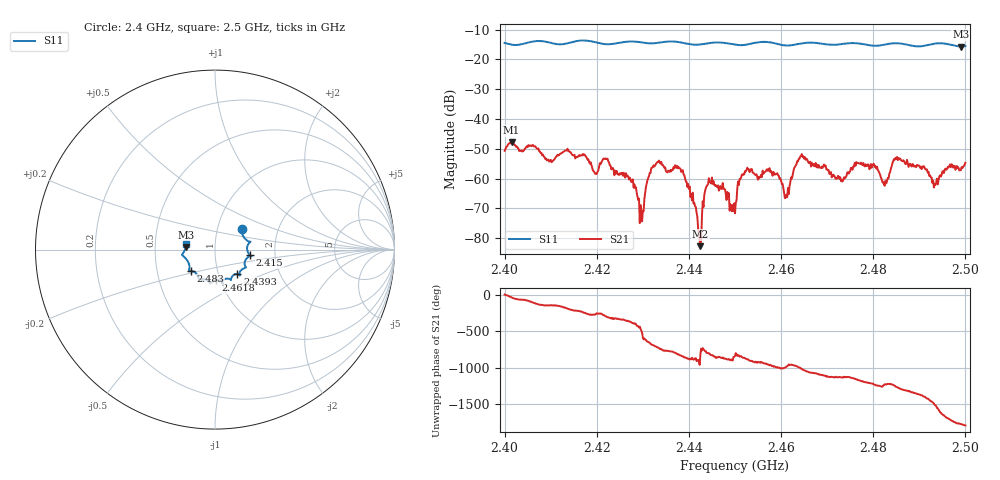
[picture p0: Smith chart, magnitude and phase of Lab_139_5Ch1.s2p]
# Hz S RI R 50
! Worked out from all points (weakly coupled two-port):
!   601 points, 2.4 GHz to 2.5 GHz, reference 50 ohm
!   highest |S21| = -47.78 dB at 2.4015 GHz (marker M1); lowest = -82.7 dB at 2.4425 GHz (marker M2)
!   lowest |S11| = -15.7 dB at 2.499 GHz (marker M3), VSWR 1.39, Z = 35.9 + j1.12 ohm
!   |S11| at or under -10 dB: start of sweep to end of sweep
!   S12 and S22 are empty: the file has one direction only
!   S11 on the Smith chart (normalised r, x): 2.4 GHz: 1.31, +0.31; 2.415 GHz: 1.48, -0.10; 2.4393 GHz: 1.23, -0.35; 2.4618 GHz: 0.95, -0.33; 2.483 GHz: 0.74, -0.18; 2.5 GHz: 0.72, +0.05
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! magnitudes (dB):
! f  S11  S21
! 2.4 GHz  -14.5  -50.7
! 2.4015 GHz  -15.1  -47.8
! 2.415 GHz  -14.1  -52.2
! 2.4167 GHz  -13.7  -52.2
! 2.4268 GHz  -14.0  -59.4
! 2.4297 GHz  -14.3  -71.0
! 2.4315 GHz  -14.6  -58.1
! 2.4333 GHz  -14.4  -54.4
! 2.4393 GHz  -14.7  -61.0
! 2.4425 GHz  -15.0  -82.7
! 2.4445 GHz  -14.5  -61.0
! 2.45 GHz  -15.1  -71.7
! 2.453 GHz  -14.9  -56.9
! 2.4618 GHz  -15.3  -62.5
! 2.464 GHz  -14.8  -53.3
! 2.4667 GHz  -14.4  -54.7
! 2.483 GHz  -14.9  -60.7
! 2.4833 GHz  -14.8  -59.9
! 2.485 GHz  -14.6  -53.4
! 2.4935 GHz  -14.7  -62.1
! 2.499 GHz  -15.7  -57.2
! 2.5 GHz  -15.6  -54.7
